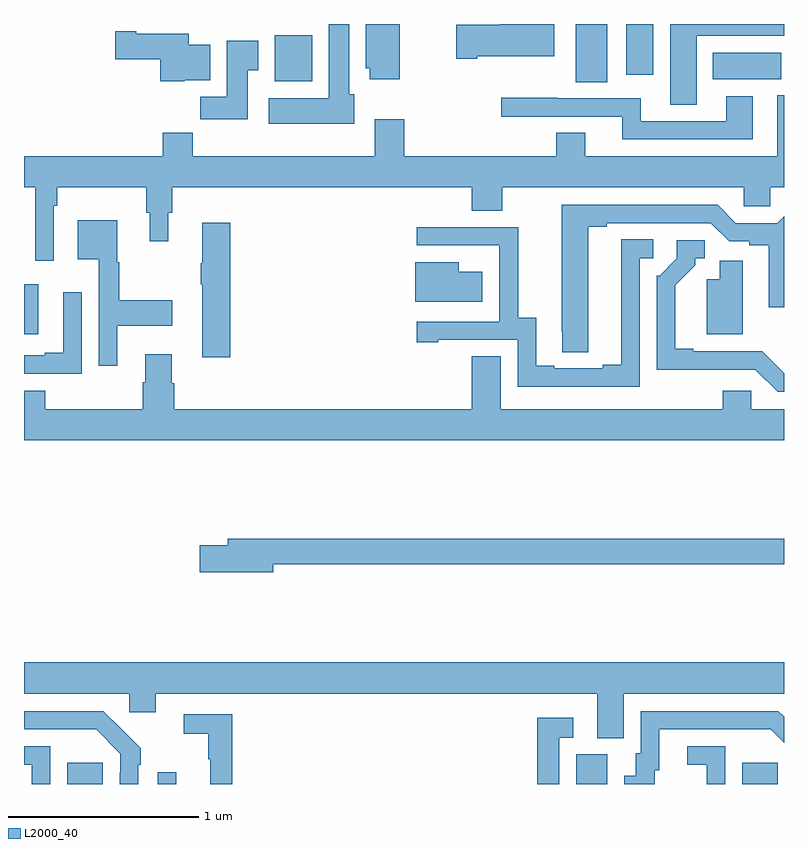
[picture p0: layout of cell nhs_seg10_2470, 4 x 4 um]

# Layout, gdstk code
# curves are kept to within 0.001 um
import gdstk
lib = gdstk.Library(unit=1e-6, precision=1e-09)
def R(c, l, rs):  # rectangles x0, y0, x1, y1
    for r in rs: c.add(gdstk.rectangle(r[:2], r[2:], *l))
def P(c, l, *ps):  # polygons
    for p in ps: c.add(gdstk.Polygon(p, *l))
L2000_40 = (2000, 40)

nhs_seg10_2470 = lib.new_cell('nhs_seg10_2470')
R(nhs_seg10_2470, L2000_40, [(243.227,1306.5,243.415,1306.612), (243.705,1306.5,243.801,1306.561), (245.906,1306.5,246.07,1306.656), (246.779,1306.5,246.967,1306.612), (243,1308.866,243.076,1309.129), (245.903,1310.194,246.07,1310.5), (244.319,1310.198,244.516,1310.44), (246.626,1310.21,246.985,1310.35), (246.17,1310.232,246.313,1310.5)])
P(nhs_seg10_2470, L2000_40, [(244.978,1310.5),(244.799,1310.5),(244.799,1310.268),(244.82,1310.268),(244.82,1310.208),(244.978,1310.208)],
  [(245.386,1310.33),(245.791,1310.33),(245.791,1310.5),(245.504,1310.5),(245.504,1310.496),(245.274,1310.496),(245.274,1310.318),(245.386,1310.318)],
  [(246.541,1310.438),(247,1310.438),(247,1310.5),(246.401,1310.5),(246.401,1310.074),(246.541,1310.074)],
  [(244.738,1310.13),(244.711,1310.13),(244.711,1310.5),(244.604,1310.5),(244.604,1310.11),(244.287,1310.11),(244.287,1309.976),(244.738,1309.976)],
  [(243.846,1310.204),(243.979,1310.204),(243.979,1310.392),(243.868,1310.392),(243.868,1310.449),(243.592,1310.449),(243.592,1310.462),(243.48,1310.462),(243.48,1310.315),(243.716,1310.315),(243.716,1310.198),(243.846,1310.198)],
  [(244.177,1310.257),(244.234,1310.257),(244.234,1310.413),(244.067,1310.413),(244.067,1310.116),(243.928,1310.116),(243.928,1309.998),(244.177,1309.998)],
  [(243.156,1309.544),(243.176,1309.544),(243.176,1309.64),(243.643,1309.64),(243.643,1309.506),(243.662,1309.506),(243.662,1309.356),(243.76,1309.356),(243.76,1309.506),(243.779,1309.506),(243.779,1309.64),(245.357,1309.64),(245.357,1309.516),(245.517,1309.516),(245.517,1309.64),(246.789,1309.64),(246.789,1309.542),(246.927,1309.542),(246.927,1309.64),(247,1309.64),(247,1310.125),(246.965,1310.125),(246.965,1309.804),(245.953,1309.804),(245.953,1309.928),(245.801,1309.928),(245.801,1309.804),(245,1309.804),(245,1309.999),(244.847,1309.999),(244.847,1309.804),(243.887,1309.804),(243.887,1309.928),(243.731,1309.928),(243.731,1309.804),(243,1309.804),(243,1309.64),(243.059,1309.64),(243.059,1309.254),(243.156,1309.254)],
  [(246.835,1310.119),(246.695,1310.119),(246.695,1309.989),(246.247,1309.989),(246.247,1310.109),(245.807,1310.109),(245.807,1310.112),(245.511,1310.112),(245.511,1310.013),(246.149,1310.013),(246.149,1309.893),(246.835,1309.893)],
  [(245.971,1309.432),(246.067,1309.432),(246.067,1309.452),(246.615,1309.452),(246.711,1309.356),(246.816,1309.356),(246.816,1309.336),(246.92,1309.336),(246.92,1309.008),(247,1309.008),(247,1309.487),(246.965,1309.452),(246.747,1309.452),(246.651,1309.548),(245.831,1309.548),(245.832,1308.772),(245.971,1308.772)],
  [(243.49,1308.911),(243.781,1308.911),(243.781,1309.046),(243.502,1309.046),(243.502,1309.247),(243.49,1309.247),(243.49,1309.468),(243.284,1309.468),(243.284,1309.262),(243.393,1309.262),(243.393,1308.702),(243.49,1308.702)],
  [(244.085,1309.453),(243.938,1309.453),(243.938,1309.24),(243.931,1309.24),(243.931,1309.129),(243.938,1309.129),(243.938,1308.747),(244.085,1308.747)],
  [(246.24,1309.266),(246.313,1309.266),(246.313,1309.367),(246.143,1309.367),(246.143,1308.707),(246.047,1308.707),(246.047,1308.687),(245.791,1308.687),(245.791,1308.702),(245.695,1308.702),(245.695,1308.953),(245.601,1308.953),(245.601,1309.431),(245.067,1309.431),(245.067,1309.335),(245.501,1309.335),(245.501,1309.334),(245.502,1309.334),(245.502,1308.933),(245.067,1308.933),(245.067,1308.825),(245.179,1308.825),(245.179,1308.837),(245.598,1308.837),(245.598,1308.591),(246.24,1308.591)],
  [(247,1308.662),(246.885,1308.777),(246.523,1308.777),(246.523,1308.79),(246.427,1308.79),(246.427,1309.126),(246.532,1309.231),(246.532,1309.266),(246.582,1309.266),(246.582,1309.362),(246.435,1309.362),(246.435,1309.266),(246.345,1309.176),(246.33,1309.176),(246.33,1308.68),(246.849,1308.681),(246.966,1308.564),(247,1308.564)],
  [(246.784,1309.254),(246.662,1309.254),(246.662,1309.156),(246.593,1309.156),(246.593,1308.866),(246.784,1308.866)],
  [(245.413,1309.195),(245.287,1309.195),(245.287,1309.246),(245.06,1309.246),(245.06,1309.037),(245.413,1309.037)],
  [(243.303,1309.087),(243.206,1309.087),(243.206,1308.769),(243.11,1308.769),(243.11,1308.756),(243,1308.756),(243,1308.66),(243.303,1308.66)],
  [(247,1308.472),(246.828,1308.472),(246.828,1308.57),(246.677,1308.57),(246.677,1308.472),(245.509,1308.472),(245.509,1308.752),(245.357,1308.752),(245.357,1308.472),(243.791,1308.472),(243.791,1308.609),(243.778,1308.609),(243.778,1308.763),(243.638,1308.763),(243.638,1308.614),(243.626,1308.614),(243.626,1308.472),(243.113,1308.472),(243.113,1308.57),(243,1308.57),(243,1308.308),(247,1308.308)],
  [(244.312,1307.656),(247,1307.656),(247,1307.792),(244.073,1307.792),(244.073,1307.756),(243.924,1307.756),(243.924,1307.614),(244.312,1307.614)],
  [(246.157,1306.976),(247,1306.976),(247,1307.14),(243,1307.14),(243,1306.976),(243.555,1306.976),(243.555,1306.878),(243.694,1306.878),(243.694,1306.976),(246.017,1306.976),(246.017,1306.741),(246.157,1306.741)],
  [(246.319,1306.572),(246.343,1306.572),(246.343,1306.788),(246.931,1306.788),(247,1306.718),(247,1306.854),(246.97,1306.884),(246.246,1306.884),(246.246,1306.662),(246.221,1306.662),(246.221,1306.543),(246.158,1306.543),(246.158,1306.5),(246.319,1306.5)],
  [(243.6,1306.601),(243.615,1306.601),(243.615,1306.689),(243.418,1306.884),(243,1306.884),(243,1306.788),(243.379,1306.788),(243.507,1306.659),(243.507,1306.559),(243.504,1306.559),(243.504,1306.5),(243.6,1306.5)],
  [(244.097,1306.866),(243.84,1306.866),(243.84,1306.765),(243.969,1306.765),(243.969,1306.629),(243.98,1306.629),(243.98,1306.5),(244.097,1306.5)],
  [(245.817,1306.743),(245.89,1306.743),(245.89,1306.849),(245.701,1306.849),(245.701,1306.5),(245.817,1306.5)],
  [(243.138,1306.698),(243,1306.698),(243,1306.602),(243.042,1306.602),(243.042,1306.5),(243.138,1306.5)],
  [(246.69,1306.698),(246.492,1306.698),(246.492,1306.602),(246.594,1306.602),(246.594,1306.5),(246.69,1306.5)])

lib.write_gds('nhs_seg10_2470.gds')
